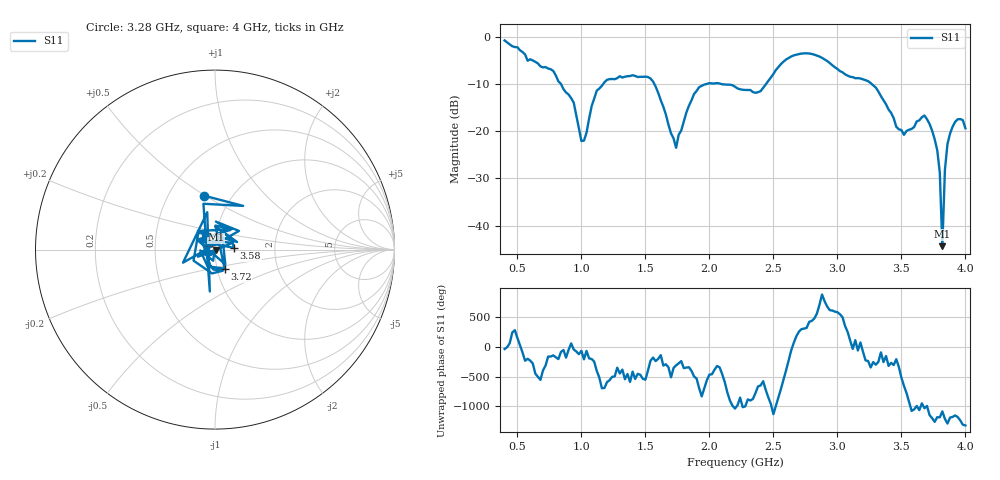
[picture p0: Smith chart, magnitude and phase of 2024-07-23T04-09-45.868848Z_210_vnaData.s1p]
!Created with skrf (http://scikit-rf.org).
# Hz S RI R 50.0
!freq ReS11 ImS11
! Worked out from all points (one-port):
!   181 points, 400 MHz to 4 GHz, reference 50 ohm
!   lowest |S11| = -44.4 dB at 3.82 GHz (marker M1), VSWR 1.01, Z = 50.6 - j0.0195 ohm
!   |S11| at or under -10 dB: 1.57 GHz to 1.979 GHz (409.3 MHz wide, 23.1 % of centre); 2.092 GHz to 2.443 GHz (350.4 MHz wide, 15.5 % of centre); 3.268 GHz to end of sweep (the widest 3 of 4)
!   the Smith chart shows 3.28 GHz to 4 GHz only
!   S11 on the Smith chart (normalised r, x): 3.28 GHz: 0.75, +0.49; 3.58 GHz: 1.23, +0.02; 3.72 GHz: 1.09, -0.23; 4 GHz: 0.88, +0.16
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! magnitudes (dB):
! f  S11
! 400 MHz  -0.8
! 860 MHz  -11.1
! 940 MHz  -14.0
! 1 GHz  -22.1
! 1.02 GHz  -22.0
! 1.12 GHz  -11.4
! 1.3 GHz  -8.4
! 1.54 GHz  -8.8
! 1.74 GHz  -23.5
! 1.76 GHz  -20.8
! 1.92 GHz  -10.7
! 2.2 GHz  -10.6
! 2.4 GHz  -11.5
! 2.66 GHz  -3.9
! 3.1 GHz  -8.5
! 3.28 GHz  -10.3
! 3.46 GHz  -19.1
! 3.56 GHz  -19.7
! 3.58 GHz  -19.5
! 3.68 GHz  -16.7
! 3.72 GHz  -18.5
! 3.78 GHz  -24.0
! 3.8 GHz  -28.7
! 3.82 GHz  -44.4
! 3.84 GHz  -28.2
! 3.86 GHz  -22.7
! 3.94 GHz  -17.5
! 4 GHz  -19.4
